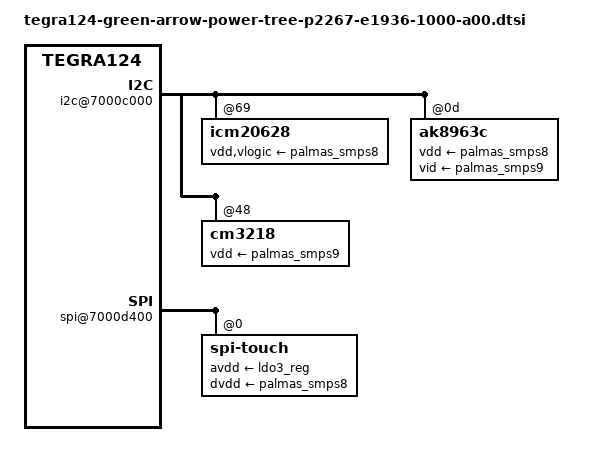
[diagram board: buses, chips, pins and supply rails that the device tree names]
/*
 * tegra124-green-arrow-power-tree-p2267-e1936-1000-a00.dtsi
 *
 * Copyright (c) 2015, NVIDIA CORPORATION.  All rights reserved.
 *
 * This program is free software; you can redistribute it and/or modify
 * it under the terms of the GNU General Public License as published by
 * the Free Software Foundation; either version 2 of the License, or
 * (at your option) any later version.
 *
 * This program is distributed in the hope that it will be useful, but WITHOUT
 * ANY WARRANTY; without even the implied warranty of MERCHANTABILITY or
 * FITNESS FOR A PARTICULAR PURPOSE.  See the GNU General Public License for
 * more details.
 */

#include "tegra124-green-arrow-p2267-pmic-e1936-1000-a00.dtsi"
#include "tegra124-green-arrow-p2267-fixed-1936-1000-a00.dtsi"

/ {
	host1x {
		/* tegradc.0 */
		dc@54200000 {
			avdd_dsi_csi-supply = <&ldo5_reg>;
			avdd_lcd-supply = <&ldo2_reg>;
			dvdd_lcd-supply = <&vdd_lcd_1v8>;
		};
		/* tegradc.1 */
		dc@54240000 {
			avdd_hdmi-supply = <&avdd_hdmi>;
			/* TODO: Fix the following 2 supplies */
			avdd_hdmi_pll-supply = <&avdd_hdmi_pll>;
			vdd_hdmi_5v0-supply = <&vdd_hdmi>;
		};
		vi {
			avdd_dsi_csi-supply = <&ldo5_reg>;
		};
	};

	sound {
		dbvdd-supply = <&palmas_smps8>;
		avdd-supply = <&palmas_smps8>;
		dmicvdd-supply = <&palmas_smps8>;
		spkvdd-supply = <&palmas_smps10_out2>;
	};

	i2c@7000c000 {
		icm20628@69 {
			vdd-supply = <&palmas_smps8>;
			vlogic-supply = <&palmas_smps8>;
		};

		ak8963c@0d {
			vdd-supply = <&palmas_smps8>;
			vid-supply = <&palmas_smps9>;
		};

		cm3218@48 {
			vdd-supply = <&palmas_smps9>;
		};
	};

	bluedroid_pm {
		avdd-supply = <&vdd_ac_bat_reg>;
		dvdd-supply = <&palmas_smps8>;
	};

	power-detect {
		pwrdet-nand-supply = <&palmas_smps8>;
		pwrdet-sdmmc1-supply = <&palmas_smps8>;
		pwrdet-sdmmc4-supply = <&palmas_smps8>;
		pwrdet-audio-supply = <&palmas_smps8>;
		pwrdet-uart-supply = <&palmas_smps8>;
		pwrdet-bb-supply = <&palmas_smps8>;
		pwrdet-mipi-supply = <&ldo5_reg>;
		pwrdet-sdmmc3-supply = <&palmas_ldo9>;
		pwrdet-hv-supply = <&ldoln_reg>;
		pwrdet-pex-ctl-supply = <&ldousb_reg>;
		pwrdet-cam-supply = <&en_vdd_cam_1v8>;
	};

	udc@7d000000 {
		avdd_usb-supply = <&ldousb_reg>;
		avdd_pll_utmip-supply = <&palmas_smps8>;
		usb_bat_chg-supply = <&battery_charger>;
	};

	otg@7d000000 {
		usb_bat_chg-supply = <&battery_charger>;
		usb_vbus-supply = <&usb0_vbus>;
	};

	ehci@0x7d000000 {
		avdd_usb-supply = <&ldousb_reg>;
		avdd_pll_utmip-supply = <&palmas_smps8>;
		usb_vbus-supply = <&usb0_vbus>;
	};

	spi@7000d400 {
		spi-touch@0 {
			avdd-supply = <&ldo3_reg>;
			dvdd-supply = <&palmas_smps8>;
		};
	};
};
